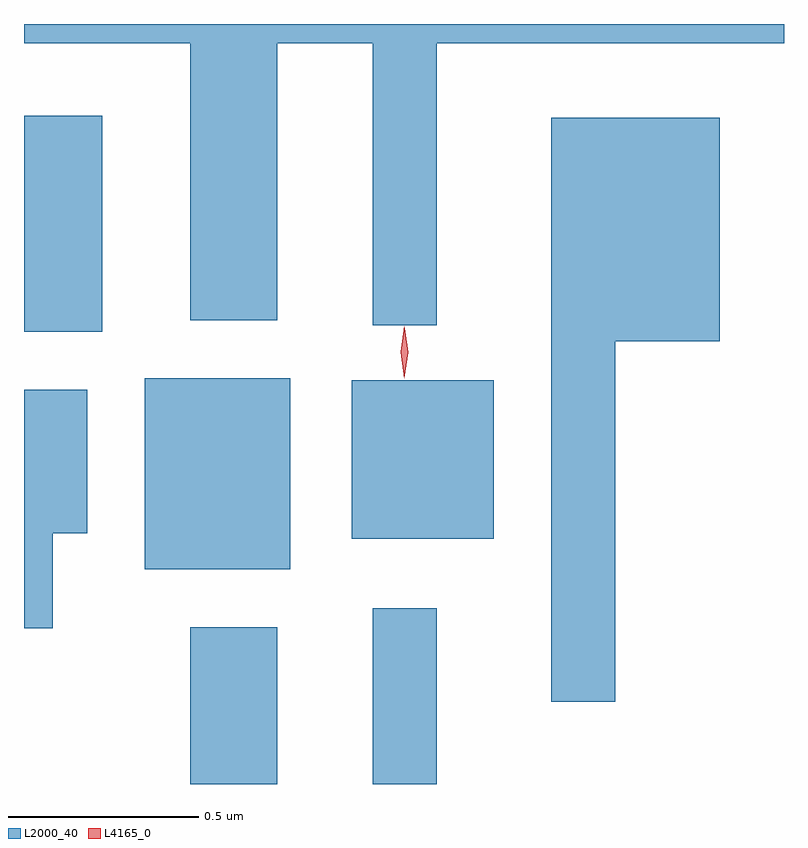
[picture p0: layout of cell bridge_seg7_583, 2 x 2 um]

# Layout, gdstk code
import gdstk
lib = gdstk.Library(unit=1e-6, precision=1e-09)
def R(c, l, rs):  # rectangles x0, y0, x1, y1
    for r in rs: c.add(gdstk.rectangle(r[:2], r[2:], *l))
def P(c, l, *ps):  # polygons
    for p in ps: c.add(gdstk.Polygon(p, *l))
L2000_40 = (2000, 40)
L4165_0 = (4165, 0)

bridge_seg7_583 = lib.new_cell('bridge_seg7_583')
R(bridge_seg7_583, L2000_40, [(981.141,1752.326,981.369,1752.739), (981.621,1752.326,981.789,1752.788), (981.021,1752.891,981.404,1753.394), (981.566,1752.971,981.939,1753.389), (980.703,1753.516,980.909,1754.084)])
P(bridge_seg7_583, L2000_40, [(981.789,1754.276),(982.703,1754.276),(982.703,1754.326),(980.703,1754.326),(980.703,1754.276),(981.141,1754.276),(981.141,1753.546),(981.369,1753.546),(981.369,1754.276),(981.621,1754.276),(981.621,1753.533),(981.789,1753.533)],
  [(982.259,1753.491),(982.534,1753.491),(982.534,1754.079),(982.091,1754.079),(982.091,1752.543),(982.259,1752.543)],
  [(980.779,1752.986),(980.869,1752.986),(980.869,1753.364),(980.703,1753.364),(980.703,1752.736),(980.779,1752.736)])
P(bridge_seg7_583, L4165_0, [(981.703,1753.394),(981.694,1753.462),(981.703,1753.53),(981.704,1753.53),(981.704,1753.53),(981.714,1753.462),(981.704,1753.394),(981.704,1753.394)],
  [(981.704,1753.398),(981.703,1753.399),(981.694,1753.463),(981.704,1753.526),(981.705,1753.527),(981.705,1753.526),(981.714,1753.462),(981.704,1753.399)])

lib.write_gds('bridge_seg7_583.gds')
